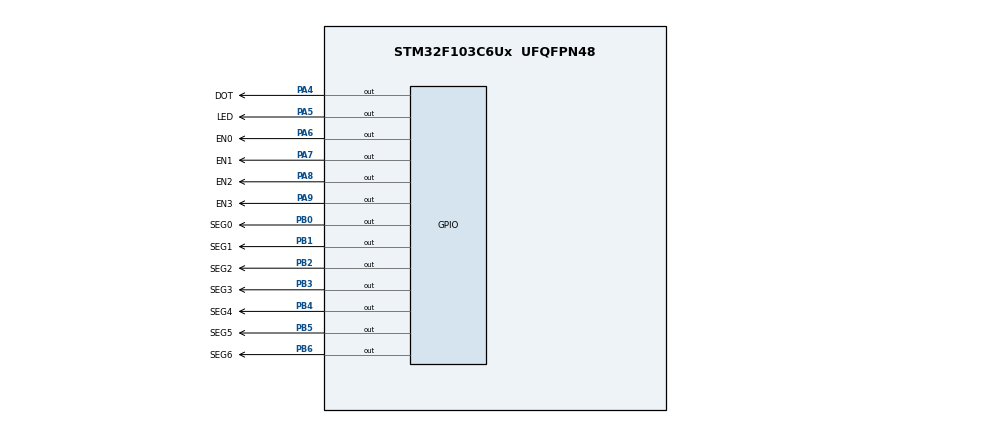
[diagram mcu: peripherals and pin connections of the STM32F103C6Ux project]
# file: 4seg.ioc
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Mcu.Family=STM32F1
Mcu.Name=STM32F103C6Ux
Mcu.Package=UFQFPN48
NVIC.PriorityGroup=NVIC_PRIORITYGROUP_4
NVIC.TIM2_IRQn=true\:0\:0\:false\:false\:true\:true\:true
PA4.GPIO_Label=DOT
PA4.Signal=GPIO_Output
PA5.GPIO_Label=LED
PA5.Signal=GPIO_Output
PA6.GPIO_Label=EN0
PA6.Signal=GPIO_Output
PA7.GPIO_Label=EN1
PA7.Signal=GPIO_Output
PA8.GPIO_Label=EN2
PA8.Signal=GPIO_Output
PA9.GPIO_Label=EN3
PA9.Signal=GPIO_Output
PB0.GPIO_Label=SEG0
PB0.Signal=GPIO_Output
PB1.GPIO_Label=SEG1
PB1.Signal=GPIO_Output
PB2.GPIO_Label=SEG2
PB2.Signal=GPIO_Output
PB3.GPIO_Label=SEG3
PB3.Signal=GPIO_Output
PB4.GPIO_Label=SEG4
PB4.Signal=GPIO_Output
PB5.GPIO_Label=SEG5
PB5.Signal=GPIO_Output
PB6.GPIO_Label=SEG6
PB6.Signal=GPIO_Output
ProjectManager.HeapSize=0x200
ProjectManager.StackSize=0x400
ProjectManager.TargetToolchain=STM32CubeIDE
RCC.APB1Freq_Value=8000000
RCC.APB2Freq_Value=8000000
TIM2.Period=9
TIM2.Prescaler=7999
VP_SYS_VS_ND.Mode=No_Debug
VP_TIM2_VS_ClockSourceINT.Mode=Internal
board=custom

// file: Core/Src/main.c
/* USER CODE BEGIN Header */
/**
  ******************************************************************************
  * @file           : main.c
  * @brief          : Main program body
  ******************************************************************************
  * @attention
  *
  * <h2><center>&copy; Copyright (c) 2024 STMicroelectronics.
  * All rights reserved.</center></h2>
  *
  * This software component is licensed by ST under BSD 3-Clause license,
  * the "License"; You may not use this file except in compliance with the
  * License. You may obtain a copy of the License at:
  *                        opensource.org/licenses/BSD-3-Clause
  *
  ******************************************************************************
  */
/* USER CODE END Header */
#include "main.h"
#include "../Inc/software_timer.h"

TIM_HandleTypeDef htim2;

void SystemClock_Config(void);
static void MX_GPIO_Init(void);
static void MX_TIM2_Init(void);

/* USER CODE BEGIN 0 */
uint16_t pin7seg[4] = { GPIO_PIN_6 , GPIO_PIN_7 , GPIO_PIN_8 , GPIO_PIN_9 };
int buffer[4] = {1,2,3,0};
int idx = 0;
void clearLED () {
	HAL_GPIO_WritePin(GPIOA, GPIO_PIN_6 | GPIO_PIN_7 | GPIO_PIN_8 | GPIO_PIN_9, GPIO_PIN_SET);
	HAL_GPIO_WritePin(GPIOB, GPIO_PIN_0 | GPIO_PIN_1 | GPIO_PIN_2 | GPIO_PIN_3 | GPIO_PIN_4 | GPIO_PIN_5 | GPIO_PIN_6, GPIO_PIN_SET);
}

void display7seg(int idx, int num) {
	HAL_GPIO_WritePin(GPIOA, pin7seg[idx], GPIO_PIN_RESET);
	char led7seg[10] = {0xC0 , 0xF9 , 0xA4 , 0xB0 , 0x99 , 0x92 , 0x82 , 0xF8 , 0x80 , 0x90 };
	for (int i = 0; i < 7; i++) {
		HAL_GPIO_WritePin(GPIOB, GPIO_PIN_0 << i, (led7seg[num] >> i) & 1);
	}
}
/* USER CODE END 0 */

int main(void)
{

  /* MCU Configuration--------------------------------------------------------*/

  /* Reset of all peripherals, Initializes the Flash interface and the Systick. */
  HAL_Init();

  /* Configure the system clock */
  SystemClock_Config();

  /* Initialize all configured peripherals */
  MX_GPIO_Init();
  MX_TIM2_Init();
  /* USER CODE BEGIN 2 */
  HAL_TIM_Base_Start_IT(&htim2);
  /* USER CODE END 2 */

  /* Infinite loop */
  /* USER CODE BEGIN WHILE */
  setTimer(0,50);

  while (1)
  {
    /* USER CODE END WHILE */
	  if(isTimerExpired(0) == 1) {
		  if(idx%2 == 0) {
			  HAL_GPIO_TogglePin (GPIOA , GPIO_PIN_4 | GPIO_PIN_5 );
		  }
		  clearLED();
		  display7seg(idx,buffer[idx]);
		  idx++;
		  if(idx>=4) idx = 0;
		  setTimer(0,50);
	  }

  }
}

void SystemClock_Config(void)
{
  RCC_OscInitTypeDef RCC_OscInitStruct = {0};
  RCC_ClkInitTypeDef RCC_ClkInitStruct = {0};

  /** Initializes the RCC Oscillators according to the specified parameters
  * in the RCC_OscInitTypeDef structure.
  */
  RCC_OscInitStruct.OscillatorType = RCC_OSCILLATORTYPE_HSI;
  RCC_OscInitStruct.HSIState = RCC_HSI_ON;
  RCC_OscInitStruct.HSICalibrationValue = RCC_HSICALIBRATION_DEFAULT;
  RCC_OscInitStruct.PLL.PLLState = RCC_PLL_NONE;
  if (HAL_RCC_OscConfig(&RCC_OscInitStruct) != HAL_OK)
  {
    Error_Handler();
  }
  /** Initializes the CPU, AHB and APB buses clocks
  */
  RCC_ClkInitStruct.ClockType = RCC_CLOCKTYPE_HCLK|RCC_CLOCKTYPE_SYSCLK
                              |RCC_CLOCKTYPE_PCLK1|RCC_CLOCKTYPE_PCLK2;
  RCC_ClkInitStruct.SYSCLKSource = RCC_SYSCLKSOURCE_HSI;
  RCC_ClkInitStruct.AHBCLKDivider = RCC_SYSCLK_DIV1;
  RCC_ClkInitStruct.APB1CLKDivider = RCC_HCLK_DIV1;
  RCC_ClkInitStruct.APB2CLKDivider = RCC_HCLK_DIV1;

  if (HAL_RCC_ClockConfig(&RCC_ClkInitStruct, FLASH_LATENCY_0) != HAL_OK)
  {
    Error_Handler();
  }
}

static void MX_TIM2_Init(void)
{

  TIM_ClockConfigTypeDef sClockSourceConfig = {0};
  TIM_MasterConfigTypeDef sMasterConfig = {0};

  htim2.Instance = TIM2;
  htim2.Init.Prescaler = 7999;
  htim2.Init.CounterMode = TIM_COUNTERMODE_UP;
  htim2.Init.Period = 9;
  htim2.Init.ClockDivision = TIM_CLOCKDIVISION_DIV1;
  htim2.Init.AutoReloadPreload = TIM_AUTORELOAD_PRELOAD_DISABLE;
  if (HAL_TIM_Base_Init(&htim2) != HAL_OK)
  {
    Error_Handler();
  }
  sClockSourceConfig.ClockSource = TIM_CLOCKSOURCE_INTERNAL;
  if (HAL_TIM_ConfigClockSource(&htim2, &sClockSourceConfig) != HAL_OK)
  {
    Error_Handler();
  }
  sMasterConfig.MasterOutputTrigger = TIM_TRGO_RESET;
  sMasterConfig.MasterSlaveMode = TIM_MASTERSLAVEMODE_DISABLE;
  if (HAL_TIMEx_MasterConfigSynchronization(&htim2, &sMasterConfig) != HAL_OK)
  {
    Error_Handler();
  }

}

static void MX_GPIO_Init(void)
{
  GPIO_InitTypeDef GPIO_InitStruct = {0};

  /* GPIO Ports Clock Enable */
  __HAL_RCC_GPIOA_CLK_ENABLE();
  __HAL_RCC_GPIOB_CLK_ENABLE();

  /*Configure GPIO pin Output Level */
  HAL_GPIO_WritePin(GPIOA, DOT_Pin|LED_Pin|EN0_Pin|EN1_Pin
                          |EN2_Pin|EN3_Pin, GPIO_PIN_RESET);

  /*Configure GPIO pin Output Level */
  HAL_GPIO_WritePin(GPIOB, SEG0_Pin|SEG1_Pin|SEG2_Pin|SEG3_Pin
                          |SEG4_Pin|SEG5_Pin|SEG6_Pin, GPIO_PIN_RESET);

  /*Configure GPIO pins : DOT_Pin LED_Pin EN0_Pin EN1_Pin
                           EN2_Pin EN3_Pin */
  GPIO_InitStruct.Pin = DOT_Pin|LED_Pin|EN0_Pin|EN1_Pin
                          |EN2_Pin|EN3_Pin;
  GPIO_InitStruct.Mode = GPIO_MODE_OUTPUT_PP;
  GPIO_InitStruct.Pull = GPIO_NOPULL;
  GPIO_InitStruct.Speed = GPIO_SPEED_FREQ_LOW;
  HAL_GPIO_Init(GPIOA, &GPIO_InitStruct);

  /*Configure GPIO pins : SEG0_Pin SEG1_Pin SEG2_Pin SEG3_Pin
                           SEG4_Pin SEG5_Pin SEG6_Pin */
  GPIO_InitStruct.Pin = SEG0_Pin|SEG1_Pin|SEG2_Pin|SEG3_Pin
                          |SEG4_Pin|SEG5_Pin|SEG6_Pin;
  GPIO_InitStruct.Mode = GPIO_MODE_OUTPUT_PP;
  GPIO_InitStruct.Pull = GPIO_NOPULL;
  GPIO_InitStruct.Speed = GPIO_SPEED_FREQ_LOW;
  HAL_GPIO_Init(GPIOB, &GPIO_InitStruct);

}

/* USER CODE BEGIN 4 */
void HAL_TIM_PeriodElapsedCallback(TIM_HandleTypeDef *htim) {

	timerRun();
}
/* USER CODE END 4 */

void Error_Handler(void)
{
  __disable_irq();
  while (1)
  {
  }
}

/************************ (C) COPYRIGHT STMicroelectronics *****END OF FILE****/
